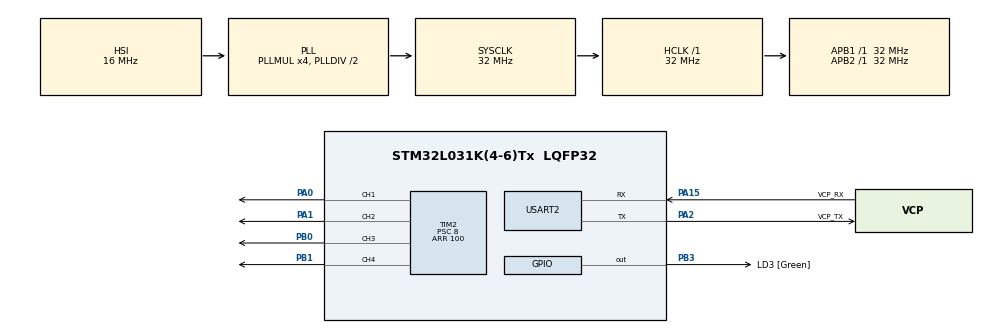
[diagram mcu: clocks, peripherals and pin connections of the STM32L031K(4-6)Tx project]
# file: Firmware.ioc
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Mcu.Family=STM32L0
Mcu.Name=STM32L031K(4-6)Tx
Mcu.Package=LQFP32
NVIC.RTC_IRQn=true\:0\:0\:false\:false\:true\:true
PA0-CK_IN.GPIO_Speed=GPIO_SPEED_FREQ_HIGH
PA0-CK_IN.Signal=S_TIM2_CH1
PA1.GPIO_Speed=GPIO_SPEED_FREQ_HIGH
PA1.Signal=S_TIM2_CH2
PA13.GPIO_Label=TMS
PA13.Mode=Serial_Wire
PA13.Signal=SYS_SWDIO
PA14.GPIO_Label=TCK
PA14.Mode=Serial_Wire
PA14.Signal=SYS_SWCLK
PA15.GPIO_Label=VCP_RX
PA15.Mode=Asynchronous
PA15.Signal=USART2_RX
PA2.GPIO_Label=VCP_TX
PA2.Mode=Asynchronous
PA2.Signal=USART2_TX
PB0.GPIO_Speed=GPIO_SPEED_FREQ_HIGH
PB0.Signal=S_TIM2_CH3
PB1.GPIO_Speed=GPIO_SPEED_FREQ_HIGH
PB1.Signal=S_TIM2_CH4
PB3.GPIO_Label=LD3 [Green]
PB3.Signal=GPIO_Output
PC14-OSC32_IN.Mode=LSE-External-Oscillator
PC14-OSC32_IN.Signal=RCC_OSC32_IN
PC15-OSC32_OUT.Mode=LSE-External-Oscillator
PC15-OSC32_OUT.Signal=RCC_OSC32_OUT
ProjectManager.HeapSize=0x200
ProjectManager.StackSize=0x400
ProjectManager.TargetToolchain=TrueSTUDIO
RCC.AHBFreq_Value=32000000
RCC.APB1Freq_Value=32000000
RCC.APB1TimFreq_Value=32000000
RCC.APB2Freq_Value=32000000
RCC.APB2TimFreq_Value=32000000
RCC.HCLKFreq_Value=32000000
RCC.HSE_VALUE=8000000
RCC.HSI16_VALUE=16000000
RCC.HSI48_VALUE=48000000
RCC.HSI_VALUE=16000000
RCC.MSI_VALUE=2097000
RCC.PLLMUL=RCC_PLLMUL_4
RCC.SYSCLKFreq_VALUE=32000000
RCC.SYSCLKSource=RCC_SYSCLKSOURCE_PLLCLK
RCC.VCOOutputFreq_Value=64000000
RTC.Alarm-Alarm\ A=RTC_ALARM_A
RTC.AlarmMaskHours-Alarm\ A=RTC_ALARMMASK_HOURS
RTC.AlarmMaskMinutes-Alarm\ A=RTC_ALARMMASK_MINUTES
RTC.AlarmMaskSeconds-Alarm\ A=RTC_ALARMMASK_SECONDS
RTC.AlarmSubSecondMask-Alarm\ A=RTC_ALARMSUBSECONDMASK_ALL
RTC.Seconds_A-Alarm\ A=1
SH.S_TIM2_CH1.0=TIM2_CH1,PWM Generation1 CH1
SH.S_TIM2_CH2.0=TIM2_CH2,PWM Generation2 CH2
SH.S_TIM2_CH3.0=TIM2_CH3,PWM Generation3 CH3
SH.S_TIM2_CH4.0=TIM2_CH4,PWM Generation4 CH4
TIM2.AutoReloadPreload=TIM_AUTORELOAD_PRELOAD_ENABLE
TIM2.Channel-PWM\ Generation1\ CH1=TIM_CHANNEL_1
TIM2.Channel-PWM\ Generation2\ CH2=TIM_CHANNEL_2
TIM2.Channel-PWM\ Generation3\ CH3=TIM_CHANNEL_3
TIM2.Channel-PWM\ Generation4\ CH4=TIM_CHANNEL_4
TIM2.Period=100
TIM2.Prescaler=8
TIM2.Pulse-PWM\ Generation1\ CH1=1
TIM2.Pulse-PWM\ Generation2\ CH2=1
TIM2.Pulse-PWM\ Generation3\ CH3=1
TIM2.Pulse-PWM\ Generation4\ CH4=1
USART2.VirtualMode-Asynchronous=VM_ASYNC
VP_RTC_VS_RTC_Activate.Mode=RTC_Enabled
VP_RTC_VS_RTC_Alarm_A_Intern.Mode=Alarm A
VP_RTC_VS_RTC_Calendar.Mode=RTC_Calendar
board=NUCLEO-L031K6

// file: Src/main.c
/* USER CODE BEGIN Header */
/**
  ******************************************************************************
  * @file           : main.c
  * @brief          : Main program body
  ******************************************************************************
  ** This notice applies to any and all portions of this file
  * that are not between comment pairs USER CODE BEGIN and
  * USER CODE END. Other portions of this file, whether
  * inserted by the user or by software development tools
  * are owned by their respective copyright owners.
  *
  * COPYRIGHT(c) 2019 STMicroelectronics
  *
  * Redistribution and use in source and binary forms, with or without modification,
  * are permitted provided that the following conditions are met:
  *   1. Redistributions of source code must retain the above copyright notice,
  *      this list of conditions and the following disclaimer.
  *   2. Redistributions in binary form must reproduce the above copyright notice,
  *      this list of conditions and the following disclaimer in the documentation
  *      and/or other materials provided with the distribution.
  *   3. Neither the name of STMicroelectronics nor the names of its contributors
  *      may be used to endorse or promote products derived from this software
  *      without specific prior written permission.
  *
  * THIS SOFTWARE IS PROVIDED BY THE COPYRIGHT HOLDERS AND CONTRIBUTORS "AS IS"
  * AND ANY EXPRESS OR IMPLIED WARRANTIES, INCLUDING, BUT NOT LIMITED TO, THE
  * IMPLIED WARRANTIES OF MERCHANTABILITY AND FITNESS FOR A PARTICULAR PURPOSE ARE
  * DISCLAIMED. IN NO EVENT SHALL THE COPYRIGHT HOLDER OR CONTRIBUTORS BE LIABLE
  * FOR ANY DIRECT, INDIRECT, INCIDENTAL, SPECIAL, EXEMPLARY, OR CONSEQUENTIAL
  * DAMAGES (INCLUDING, BUT NOT LIMITED TO, PROCUREMENT OF SUBSTITUTE GOODS OR
  * SERVICES; LOSS OF USE, DATA, OR PROFITS; OR BUSINESS INTERRUPTION) HOWEVER
  * CAUSED AND ON ANY THEORY OF LIABILITY, WHETHER IN CONTRACT, STRICT LIABILITY,
  * OR TORT (INCLUDING NEGLIGENCE OR OTHERWISE) ARISING IN ANY WAY OUT OF THE USE
  * OF THIS SOFTWARE, EVEN IF ADVISED OF THE POSSIBILITY OF SUCH DAMAGE.
  *
  ******************************************************************************
  */
/* USER CODE END Header */

#include "main.h"

/* USER CODE BEGIN PM */
#define PWM_REG_V htim2.Instance->CCR2
#define PWM_REG_B htim2.Instance->CCR3
#define PWM_REG_R htim2.Instance->CCR1
#define PWM_REG_W htim2.Instance->CCR4

#define BASE_PWR_V 76
#define BASE_PWR_B 48
#define BASE_PWR_R 84
#define BASE_PWR_W 76
/* USER CODE END PM */

RTC_HandleTypeDef hrtc;

TIM_HandleTypeDef htim2;

UART_HandleTypeDef huart2;

/* USER CODE BEGIN PV */
// Flag for soft RTC update
volatile int processClock;

volatile int sec, min, hour;

// PWM value for each leds, 0-100%
volatile unsigned int pwrV, pwrB, pwrR, pwrW;

// Time ratio : 0~1, auto-computed
volatile float tRatio;

// Global ratio : 0~1, set by user.
// 0.3~0.4 : low light for seeds
// 0.4~0.6 : normal light for grown
// 0.6~1 : boosted light if led panel >30cm from plants. Heatsink required for V/W leds
volatile float gRatio;

volatile int ledPulse;
/* USER CODE END PV */

void SystemClock_Config(void);
static void MX_GPIO_Init(void);
static void MX_USART2_UART_Init(void);
static void MX_TIM2_Init(void);
static void MX_RTC_Init(void);

int main(void)
{
  /* USER CODE BEGIN 1 */
	  processClock = 0;

	  // Set clock here !
	  sec = 55;
	  min = 59;
	  hour = 6;

	  pwrV = 0;
	  pwrB = 0;
	  pwrR = 0;
	  pwrW = 0;

	  tRatio = 0.;

	  // Set gRatio here !
	  gRatio = .8;

	  ledPulse = 0;
  /* USER CODE END 1 */

  /* MCU Configuration--------------------------------------------------------*/

  /* Reset of all peripherals, Initializes the Flash interface and the Systick. */
  HAL_Init();

  /* USER CODE BEGIN Init */
  mLED_OFF;

  /* USER CODE END Init */

  /* Configure the system clock */
  SystemClock_Config();

  /* Initialize all configured peripherals */
  MX_GPIO_Init();
  MX_USART2_UART_Init();
  MX_TIM2_Init();
  MX_RTC_Init();
  /* USER CODE BEGIN 2 */
  HAL_TIM_PWM_Start(&htim2, TIM_CHANNEL_1);
  HAL_TIM_PWM_Start(&htim2, TIM_CHANNEL_2);
  HAL_TIM_PWM_Start(&htim2, TIM_CHANNEL_3);
  HAL_TIM_PWM_Start(&htim2, TIM_CHANNEL_4);

  PWM_REG_V = pwrV;
  PWM_REG_B = pwrB;
  PWM_REG_R = pwrR;
  PWM_REG_W = pwrW;
  /* USER CODE END 2 */

  /* Infinite loop */
  while (1)
  {

    /* USER CODE BEGIN 3 */
	 if(processClock)
	 {
	   processClock = 0;
	   if(++sec == 60)
	   {
		  sec = 0;
		  if(++min == 60)
		  {
			 min = 0;
			 if(++hour == 24)
			 {
				hour = 0;
			 }
		  }
		  // Update led power
		  // 0h-6h : OFF
		  // 6h-7h : increment 0-100%
		  // 8h-20h : 100%
		  // 20h-21h : decrement 100-0%
		  // 21h-0h : OFF
		  if(hour < 6) tRatio = 0;
		  else if(hour < 7) tRatio = (float)min/60.;
		  else if(hour < 20) tRatio = 1.;
		  else if(hour < 21) tRatio = (60. - (float)min)/60.;
		  else tRatio = 0;

		  pwrV = (int)((float)BASE_PWR_V * tRatio * gRatio);
		  pwrB = (int)((float)BASE_PWR_B * tRatio * gRatio);
		  pwrR = (int)((float)BASE_PWR_R * tRatio * gRatio);
		  pwrW = (int)((float)BASE_PWR_W * tRatio * gRatio);

		  if(pwrV > 100) pwrV = 0;
		  if(pwrR > 100) pwrR = 0;
		  if(pwrB > 100) pwrB = 0;
		  if(pwrW > 100) pwrW = 0;

		  PWM_REG_V = pwrV;
		  PWM_REG_B = pwrB;
		  PWM_REG_R = pwrR;
		  PWM_REG_W = pwrW;
	   }
	   // LED output
	   if((sec % 10) == 0)
	   {
		   ledPulse = hour * 2;
	   }
	 }

  }
  /* USER CODE END 3 */
}

void SystemClock_Config(void)
{
  RCC_OscInitTypeDef RCC_OscInitStruct = {0};
  RCC_ClkInitTypeDef RCC_ClkInitStruct = {0};
  RCC_PeriphCLKInitTypeDef PeriphClkInit = {0};

  /**Configure the main internal regulator output voltage
  */
  __HAL_PWR_VOLTAGESCALING_CONFIG(PWR_REGULATOR_VOLTAGE_SCALE1);
  /**Initializes the CPU, AHB and APB busses clocks
  */
  RCC_OscInitStruct.OscillatorType = RCC_OSCILLATORTYPE_HSI|RCC_OSCILLATORTYPE_LSI;
  RCC_OscInitStruct.HSIState = RCC_HSI_ON;
  RCC_OscInitStruct.HSICalibrationValue = RCC_HSICALIBRATION_DEFAULT;
  RCC_OscInitStruct.LSIState = RCC_LSI_ON;
  RCC_OscInitStruct.PLL.PLLState = RCC_PLL_ON;
  RCC_OscInitStruct.PLL.PLLSource = RCC_PLLSOURCE_HSI;
  RCC_OscInitStruct.PLL.PLLMUL = RCC_PLLMUL_4;
  RCC_OscInitStruct.PLL.PLLDIV = RCC_PLLDIV_2;
  if (HAL_RCC_OscConfig(&RCC_OscInitStruct) != HAL_OK)
  {
    Error_Handler();
  }
  /**Initializes the CPU, AHB and APB busses clocks
  */
  RCC_ClkInitStruct.ClockType = RCC_CLOCKTYPE_HCLK|RCC_CLOCKTYPE_SYSCLK
                              |RCC_CLOCKTYPE_PCLK1|RCC_CLOCKTYPE_PCLK2;
  RCC_ClkInitStruct.SYSCLKSource = RCC_SYSCLKSOURCE_PLLCLK;
  RCC_ClkInitStruct.AHBCLKDivider = RCC_SYSCLK_DIV1;
  RCC_ClkInitStruct.APB1CLKDivider = RCC_HCLK_DIV1;
  RCC_ClkInitStruct.APB2CLKDivider = RCC_HCLK_DIV1;

  if (HAL_RCC_ClockConfig(&RCC_ClkInitStruct, FLASH_LATENCY_1) != HAL_OK)
  {
    Error_Handler();
  }
  PeriphClkInit.PeriphClockSelection = RCC_PERIPHCLK_USART2|RCC_PERIPHCLK_RTC;
  PeriphClkInit.Usart2ClockSelection = RCC_USART2CLKSOURCE_PCLK1;
  PeriphClkInit.RTCClockSelection = RCC_RTCCLKSOURCE_LSI;
  if (HAL_RCCEx_PeriphCLKConfig(&PeriphClkInit) != HAL_OK)
  {
    Error_Handler();
  }
}

static void MX_RTC_Init(void)
{

  RTC_TimeTypeDef sTime = {0};
  RTC_DateTypeDef sDate = {0};
  RTC_AlarmTypeDef sAlarm = {0};

  /**Initialize RTC Only
  */
  hrtc.Instance = RTC;
  hrtc.Init.HourFormat = RTC_HOURFORMAT_24;
  hrtc.Init.AsynchPrediv = 127;
  hrtc.Init.SynchPrediv = 255;
  hrtc.Init.OutPut = RTC_OUTPUT_DISABLE;
  hrtc.Init.OutPutRemap = RTC_OUTPUT_REMAP_NONE;
  hrtc.Init.OutPutPolarity = RTC_OUTPUT_POLARITY_HIGH;
  hrtc.Init.OutPutType = RTC_OUTPUT_TYPE_OPENDRAIN;
  if (HAL_RTC_Init(&hrtc) != HAL_OK)
  {
    Error_Handler();
  }

  /**Initialize RTC and set the Time and Date
  */
  sTime.Hours = 0x0;
  sTime.Minutes = 0x0;
  sTime.Seconds = 0x0;
  sTime.DayLightSaving = RTC_DAYLIGHTSAVING_NONE;
  sTime.StoreOperation = RTC_STOREOPERATION_RESET;
  if (HAL_RTC_SetTime(&hrtc, &sTime, RTC_FORMAT_BCD) != HAL_OK)
  {
    Error_Handler();
  }
  sDate.WeekDay = RTC_WEEKDAY_MONDAY;
  sDate.Month = RTC_MONTH_JANUARY;
  sDate.Date = 0x1;
  sDate.Year = 0x0;

  if (HAL_RTC_SetDate(&hrtc, &sDate, RTC_FORMAT_BCD) != HAL_OK)
  {
    Error_Handler();
  }
  /**Enable the Alarm A
  */
  sAlarm.AlarmTime.Hours = 0x0;
  sAlarm.AlarmTime.Minutes = 0x0;
  sAlarm.AlarmTime.Seconds = 0x1;
  sAlarm.AlarmTime.SubSeconds = 0x0;
  sAlarm.AlarmTime.DayLightSaving = RTC_DAYLIGHTSAVING_NONE;
  sAlarm.AlarmTime.StoreOperation = RTC_STOREOPERATION_RESET;
  sAlarm.AlarmMask = RTC_ALARMMASK_HOURS|RTC_ALARMMASK_MINUTES
                              |RTC_ALARMMASK_SECONDS;
  sAlarm.AlarmSubSecondMask = RTC_ALARMSUBSECONDMASK_ALL;
  sAlarm.AlarmDateWeekDaySel = RTC_ALARMDATEWEEKDAYSEL_DATE;
  sAlarm.AlarmDateWeekDay = 0x1;
  sAlarm.Alarm = RTC_ALARM_A;
  if (HAL_RTC_SetAlarm_IT(&hrtc, &sAlarm, RTC_FORMAT_BCD) != HAL_OK)
  {
    Error_Handler();
  }

}

static void MX_TIM2_Init(void)
{

  TIM_MasterConfigTypeDef sMasterConfig = {0};
  TIM_OC_InitTypeDef sConfigOC = {0};

  htim2.Instance = TIM2;
  htim2.Init.Prescaler = 8;
  htim2.Init.CounterMode = TIM_COUNTERMODE_UP;
  htim2.Init.Period = 100;
  htim2.Init.ClockDivision = TIM_CLOCKDIVISION_DIV1;
  htim2.Init.AutoReloadPreload = TIM_AUTORELOAD_PRELOAD_ENABLE;
  if (HAL_TIM_PWM_Init(&htim2) != HAL_OK)
  {
    Error_Handler();
  }
  sMasterConfig.MasterOutputTrigger = TIM_TRGO_RESET;
  sMasterConfig.MasterSlaveMode = TIM_MASTERSLAVEMODE_DISABLE;
  if (HAL_TIMEx_MasterConfigSynchronization(&htim2, &sMasterConfig) != HAL_OK)
  {
    Error_Handler();
  }
  sConfigOC.OCMode = TIM_OCMODE_PWM1;
  sConfigOC.Pulse = 1;
  sConfigOC.OCPolarity = TIM_OCPOLARITY_HIGH;
  sConfigOC.OCFastMode = TIM_OCFAST_DISABLE;
  if (HAL_TIM_PWM_ConfigChannel(&htim2, &sConfigOC, TIM_CHANNEL_1) != HAL_OK)
  {
    Error_Handler();
  }
  if (HAL_TIM_PWM_ConfigChannel(&htim2, &sConfigOC, TIM_CHANNEL_2) != HAL_OK)
  {
    Error_Handler();
  }
  if (HAL_TIM_PWM_ConfigChannel(&htim2, &sConfigOC, TIM_CHANNEL_3) != HAL_OK)
  {
    Error_Handler();
  }
  if (HAL_TIM_PWM_ConfigChannel(&htim2, &sConfigOC, TIM_CHANNEL_4) != HAL_OK)
  {
    Error_Handler();
  }
  HAL_TIM_MspPostInit(&htim2);

}

static void MX_USART2_UART_Init(void)
{

  huart2.Instance = USART2;
  huart2.Init.BaudRate = 115200;
  huart2.Init.WordLength = UART_WORDLENGTH_8B;
  huart2.Init.StopBits = UART_STOPBITS_1;
  huart2.Init.Parity = UART_PARITY_NONE;
  huart2.Init.Mode = UART_MODE_TX_RX;
  huart2.Init.HwFlowCtl = UART_HWCONTROL_NONE;
  huart2.Init.OverSampling = UART_OVERSAMPLING_16;
  huart2.Init.OneBitSampling = UART_ONE_BIT_SAMPLE_DISABLE;
  huart2.AdvancedInit.AdvFeatureInit = UART_ADVFEATURE_NO_INIT;
  if (HAL_UART_Init(&huart2) != HAL_OK)
  {
    Error_Handler();
  }

}

static void MX_GPIO_Init(void)
{
  GPIO_InitTypeDef GPIO_InitStruct = {0};

  /* GPIO Ports Clock Enable */
  __HAL_RCC_GPIOC_CLK_ENABLE();
  __HAL_RCC_GPIOA_CLK_ENABLE();
  __HAL_RCC_GPIOB_CLK_ENABLE();

  /*Configure GPIO pin Output Level */
  HAL_GPIO_WritePin(LD3_GPIO_Port, LD3_Pin, GPIO_PIN_RESET);

  /*Configure GPIO pin : LD3_Pin */
  GPIO_InitStruct.Pin = LD3_Pin;
  GPIO_InitStruct.Mode = GPIO_MODE_OUTPUT_PP;
  GPIO_InitStruct.Pull = GPIO_NOPULL;
  GPIO_InitStruct.Speed = GPIO_SPEED_FREQ_LOW;
  HAL_GPIO_Init(LD3_GPIO_Port, &GPIO_InitStruct);

}

void Error_Handler(void)
{
}

/************************ (C) COPYRIGHT STMicroelectronics *****END OF FILE****/
